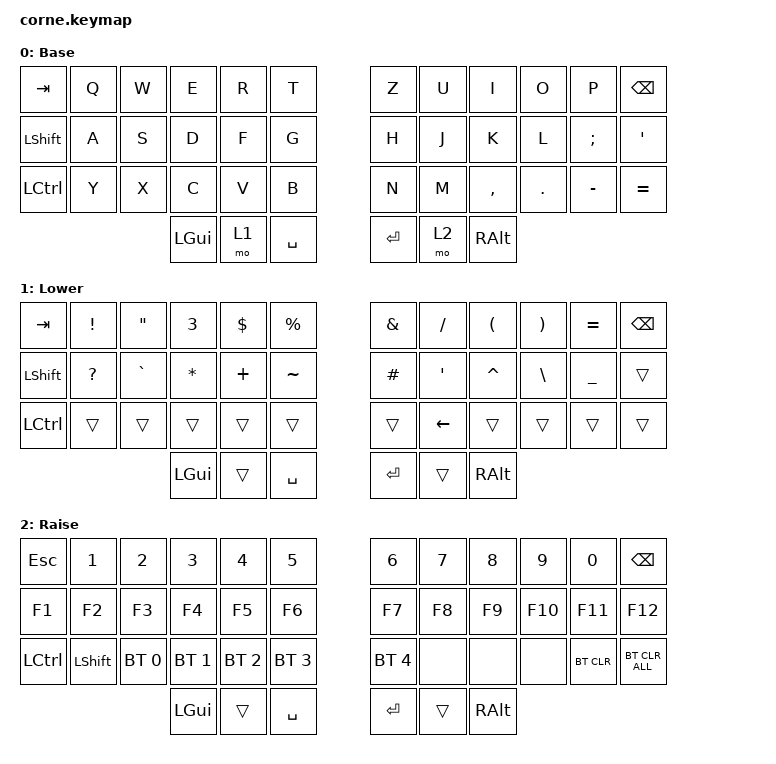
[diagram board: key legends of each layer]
/*
 * Copyright (c) 2020 The ZMK Contributors
 *
 * SPDX-License-Identifier: MIT
 */

#include <behaviors.dtsi>
#include <dt-bindings/zmk/bt.h>
#include <dt-bindings/zmk/keys.h>

/ {
    keymap {
        compatible = "zmk,keymap";

        default_layer {
            // -----------------------------------------------------------------------------------------
            // |  TAB |  Q  |  W  |  E  |  R  |  T  |   |  Z  |  U   |  I  |  O  |  P  |  Ü  |
            // | CTRL |  A  |  S  |  D  |  F  |  G  |   |  H  |  J   |  K  |  L  |  Ö  |  Ä  |
            // | SHFT |  Y  |  X  |  C  |  V  |  B  |   |  N  |  M   |  ,  |  .  |  -  |  ß  |
            //                    | GUI | LWR | SPC |   | ENT | RSE  | ALT |

            display-name = "Base";
            bindings = <
&kp TAB           &kp Q  &kp W  &kp E     &kp R  &kp T        &kp Z    &kp U  &kp I      &kp O    &kp P      &kp BACKSPACE
&kp LEFT_SHIFT    &kp A  &kp S  &kp D     &kp F  &kp G        &kp H    &kp J  &kp K      &kp L    &kp SEMI   &kp SQT
&kp LEFT_CONTROL  &kp Y  &kp X  &kp C     &kp V  &kp B        &kp N    &kp M  &kp COMMA  &kp DOT  &kp MINUS  &kp EQUAL
                                &kp LGUI  &mo 1  &kp SPACE    &kp RET  &mo 2  &kp RALT
            >;
        };

        lower_layer {
            // -----------------------------------------------------------------------------------------
            // |  TAB |  !  |  "  |  §  |  $  |  %  |   |  &  |  /  |  (  |  )  |  =  | BKSP |
            // | LEFT |  ?  |  `  |  *  |  +  |  ~  |   |  #  |  '  |  ^  |  °  |  _  |      |
            // | SHFT |     |     |     |     |     |   |     |     |     |     |     |      |
            //                    | GUI |     | SPC |   | ENT |     | ALT |

            display-name = "Lower";
            bindings = <
&kp TAB           &kp EXCL   &kp DQT    &kp NUMBER_3  &kp DLLR  &kp PERCENT    &kp AMPS  &kp FSLH        &kp LPAR   &kp RPAR       &kp EQUAL  &kp BSPC
&kp LEFT_SHIFT    &kp QMARK  &kp GRAVE  &kp STAR      &kp PLUS  &kp TILDE      &kp HASH  &kp SQT         &kp CARET  &kp BACKSLASH  &kp UNDER  &trans
&kp LEFT_CONTROL  &trans     &trans     &trans        &trans    &trans         &trans    &kp LEFT_ARROW  &trans     &trans         &trans     &trans
                                        &kp LGUI      &trans    &kp SPACE      &kp RET   &trans          &kp RALT
            >;
        };

        raise_layer {
            // -----------------------------------------------------------------------------------------
            // |  ESC |  1  |  2  |  3  |  4  |  5  |   |  6  |  7  |  8  |  9  |  0  | BKSP |
            // | BTCLR| BT1 | BT2 | BT3 | BT4 | BT5 |   |     |     |     |     |     |      |
            // | SHFT |     |     |     |     |     |   |     |     |     |     |     |      |
            //                    | GUI |     | SPC |   | ENT |     | ALT |

            display-name = "Raise";
            bindings = <
&kp ESC           &kp N1          &kp N2        &kp N3        &kp N4        &kp N5          &kp N6        &kp N7  &kp N8    &kp N9   &kp N0      &kp BSPC
&kp F1            &kp F2          &kp F3        &kp F4        &kp F5        &kp F6          &kp F7        &kp F8  &kp F9    &kp F10  &kp F11     &kp F12
&kp LEFT_CONTROL  &kp LEFT_SHIFT  &bt BT_SEL 0  &bt BT_SEL 1  &bt BT_SEL 2  &bt BT_SEL 3    &bt BT_SEL 4  &none   &none     &none    &bt BT_CLR  &bt BT_CLR_ALL
                                                &kp LGUI      &trans        &kp SPACE       &kp RET       &trans  &kp RALT
            >;
        };
    };
};
